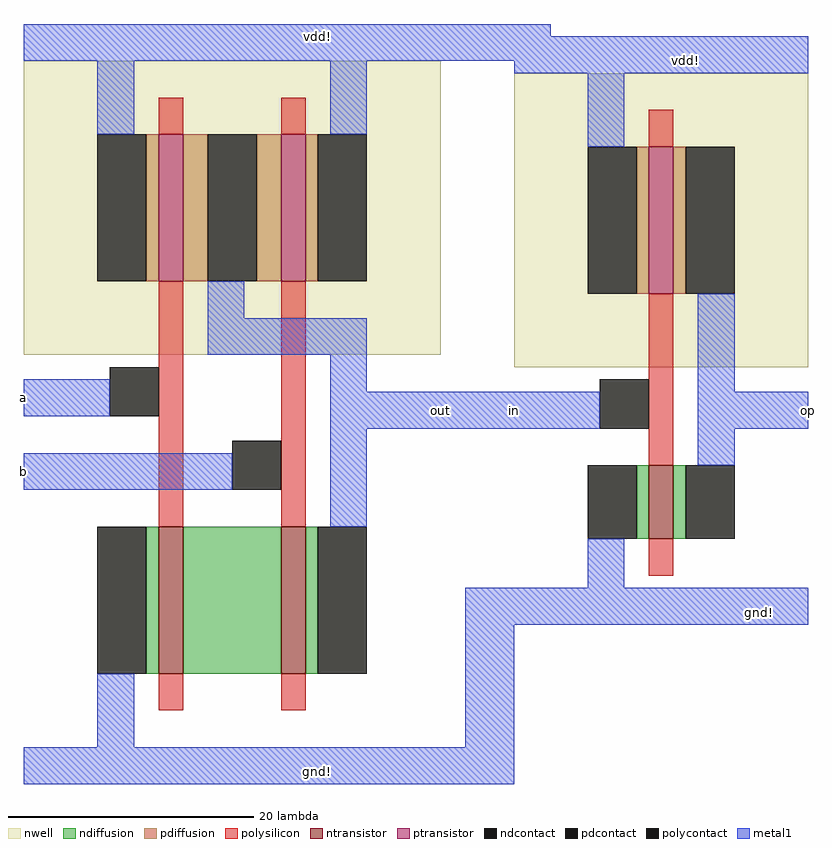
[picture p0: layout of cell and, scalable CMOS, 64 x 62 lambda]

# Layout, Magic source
magic
tech scmos
<< nwell >>
rect 0 0 34 24
rect 40 -1 64 23
<< ntransistor >>
rect 11 -26 13 -14
rect 21 -26 23 -14
rect 51 -15 53 -9
<< ptransistor >>
rect 11 6 13 18
rect 21 6 23 18
rect 51 5 53 17
<< ndiffusion >>
rect 10 -26 11 -14
rect 13 -26 21 -14
rect 23 -26 24 -14
rect 50 -15 51 -9
rect 53 -15 54 -9
<< pdiffusion >>
rect 10 6 11 18
rect 13 6 15 18
rect 19 6 21 18
rect 23 6 24 18
rect 50 5 51 17
rect 53 5 54 17
<< ndcontact >>
rect 6 -26 10 -14
rect 24 -26 28 -14
rect 46 -15 50 -9
rect 54 -15 58 -9
<< pdcontact >>
rect 6 6 10 18
rect 15 6 19 18
rect 24 6 28 18
rect 46 5 50 17
rect 54 5 58 17
<< polysilicon >>
rect 11 18 13 21
rect 21 18 23 21
rect 51 17 53 20
rect 11 -14 13 6
rect 21 -14 23 6
rect 51 -9 53 5
rect 51 -18 53 -15
rect 11 -29 13 -26
rect 21 -29 23 -26
<< polycontact >>
rect 7 -5 11 -1
rect 17 -11 21 -7
rect 47 -6 51 -2
<< metal1 >>
rect 0 26 43 27
rect 0 24 64 26
rect 6 18 9 24
rect 25 18 28 24
rect 40 23 64 24
rect 46 17 49 23
rect 15 3 18 6
rect 15 0 28 3
rect 0 -5 7 -2
rect 25 -3 28 0
rect 25 -6 47 -3
rect 55 -3 58 5
rect 55 -6 64 -3
rect 0 -11 17 -8
rect 25 -14 28 -6
rect 55 -9 58 -6
rect 46 -19 49 -15
rect 36 -22 64 -19
rect 6 -32 9 -26
rect 36 -32 40 -22
rect 0 -35 40 -32
<< labels >>
rlabel metal1 24 26 24 26 5 vdd!
rlabel metal1 24 -34 24 -34 1 gnd!
rlabel metal1 0 -11 0 -8 3 b
rlabel metal1 34 -6 34 -3 7 out
rlabel metal1 0 -5 0 -2 3 a
rlabel metal1 54 24 54 24 5 vdd!
rlabel metal1 60 -21 60 -21 1 gnd!
rlabel metal1 40 -6 40 -3 3 in
rlabel metal1 64 -6 64 -3 7 op
<< end >>
